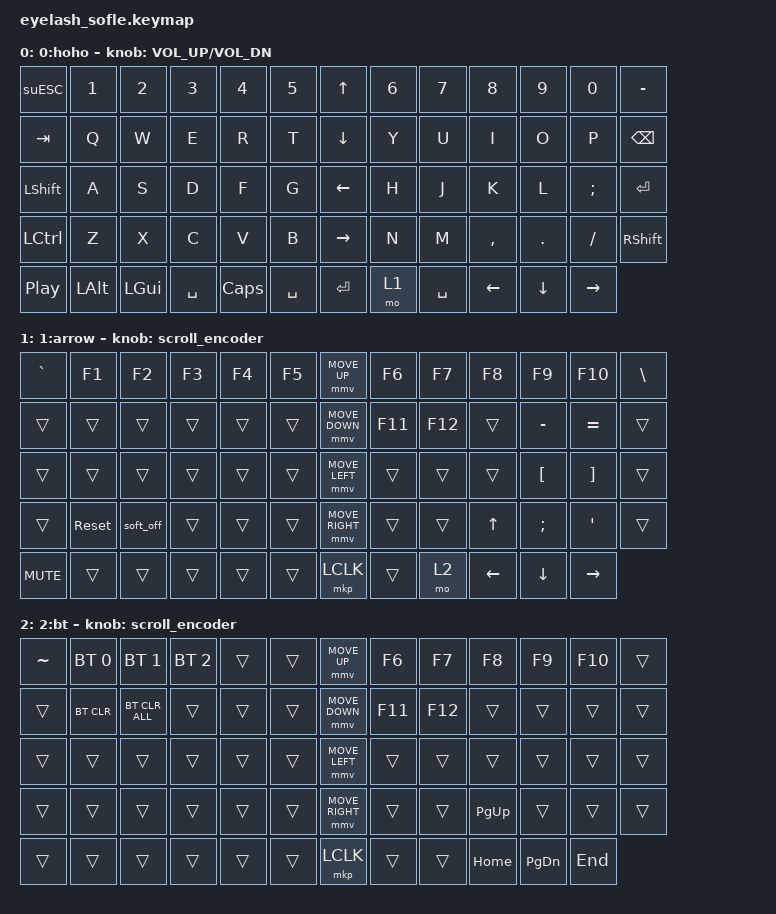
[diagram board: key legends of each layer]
#define ZMK_POINTING_DEFAULT_MOVE_VAL 1200  // 600
#define ZMK_POINTING_DEFAULT_SCRL_VAL 25   // 10

#include <input/processors.dtsi>
#include <zephyr/dt-bindings/input/input-event-codes.h>
#include <behaviors.dtsi>
#include <dt-bindings/zmk/bt.h>
#include <dt-bindings/zmk/keys.h>
#include <dt-bindings/zmk/outputs.h>
#include <dt-bindings/zmk/pointing.h>
#include <dt-bindings/zmk/rgb.h>

&mmv_input_listener { input-processors = <&zip_xy_scaler 2 1>; };

&msc_input_listener { input-processors = <&zip_scroll_scaler 2 1>; };

&msc {
    acceleration-exponent = <1>;      // 0
    time-to-max-speed-ms = <100>;       // 300
    delay-ms = <0>;                   // 0
};

&mmv {
    time-to-max-speed-ms = <500>;
    acceleration-exponent = <1>;
    trigger-period-ms = <16>;
};

&soft_off { hold-time-ms = <2000>; };

/ {
    scroll_encoder: scroll_encoder {
        compatible = "zmk,behavior-sensor-rotate";
        #sensor-binding-cells = <0>;
        bindings = <&msc SCRL_DOWN>, <&msc SCRL_UP>;

        tap-ms = <100>;
    };

    behaviors {
    };

    combos {
        compatible = "zmk,combos";

        softoff {
            bindings = <&soft_off>;
            key-positions = <14 28 40>;
        };
    };

    suESC: suESC {
        compatible = "zmk,behavior-mod-morph";
        label = "suESC";
        bindings = <&kp ESC>, <&kp LG(GRAVE)>;
        #binding-cells = <0>;
        mods = <(MOD_LGUI)>;
    };

    keymap {
        compatible = "zmk,keymap";

        layer0 {
            bindings = <
&suESC            &kp N1          &kp N2        &kp N3        &kp N4      &kp N5       &kp UP_ARROW     &kp N6           &kp N7     &kp N8     &kp N9           &kp N0      &kp MINUS
&kp TAB           &kp Q           &kp W         &kp E         &kp R       &kp T        &kp DOWN_ARROW   &kp Y            &kp U      &kp I      &kp O            &kp P       &kp BACKSPACE
&kp LSHFT         &kp A           &kp S         &kp D         &kp F       &kp G        &kp LEFT_ARROW   &kp H            &kp J      &kp K      &kp L            &kp SEMI    &kp ENTER
&kp LCTRL         &kp Z           &kp X         &kp C         &kp V       &kp B        &kp RIGHT_ARROW  &kp N            &kp M      &kp COMMA  &kp DOT          &kp FSLH    &kp RIGHT_SHIFT
&kp C_PLAY_PAUSE  &kp LEFT_ALT    &kp LEFT_GUI  &kp SPACE     &kp CAPS    &kp SPACE    &kp ENTER        &mo 1            &kp SPACE  &kp LEFT   &kp DOWN         &kp RIGHT
            >;

            display-name = "0:hoho";
            sensor-bindings = <&inc_dec_kp C_VOLUME_UP C_VOL_DN>;
        };

        layer_1 {
            bindings = <
&kp GRAVE   &kp F1           &kp F2          &kp F3           &kp F4           &kp F5       &mmv MOVE_UP       &kp F6            &kp F7            &kp F8        &kp F9             &kp F10             &kp BSLH
&trans      &trans           &trans          &trans           &trans           &trans       &mmv MOVE_DOWN     &kp F11           &kp F12           &trans        &kp MINUS          &kp EQUAL           &trans
&trans      &trans           &trans          &trans           &trans           &trans       &mmv MOVE_LEFT     &trans            &trans            &trans        &kp LEFT_BRACKET   &kp RIGHT_BRACKET   &trans
&trans      &sys_reset       &soft_off       &trans           &trans           &trans       &mmv MOVE_RIGHT    &trans            &trans            &kp UP        &kp SEMI           &kp SINGLE_QUOTE    &trans
&kp C_MUTE  &trans           &trans          &trans           &trans           &trans       &mkp LCLK          &trans            &mo 2             &kp LEFT      &kp DOWN           &kp RIGHT
            >;

            display-name = "1:arrow";
            sensor-bindings = <&scroll_encoder>;
        };

        layer_2 {
            bindings = <
&kp TILDE  &bt BT_SEL 0      &bt BT_SEL 1    &bt BT_SEL 2  &trans        &trans          &mmv MOVE_UP       &kp F6    &kp F7      &kp F8         &kp F9         &kp F10              &trans
&trans     &bt BT_CLR        &bt BT_CLR_ALL  &trans        &trans        &trans          &mmv MOVE_DOWN     &kp F11   &kp F12     &trans         &trans         &trans               &trans
&trans     &trans            &trans          &trans        &trans        &trans          &mmv MOVE_LEFT     &trans    &trans      &trans         &trans         &trans               &trans
&trans     &trans            &trans          &trans        &trans        &trans          &mmv MOVE_RIGHT    &trans    &trans      &kp PG_UP      &trans         &trans               &trans
&trans     &trans            &trans          &trans        &trans        &trans          &mkp LCLK          &trans    &trans      &kp HOME       &kp PG_DN      &kp END
            >;

            display-name = "2:bt";
            sensor-bindings = <&scroll_encoder>;
        };
    };
};
